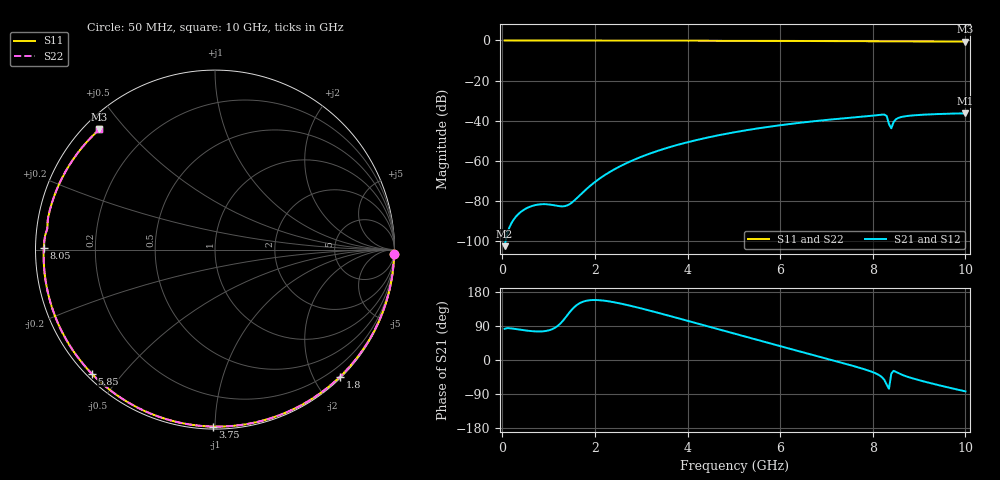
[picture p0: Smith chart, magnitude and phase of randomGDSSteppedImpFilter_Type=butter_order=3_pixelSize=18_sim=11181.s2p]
! freq	dB(S11)	phase(S11)	dB(S12)	phase(S12)
!  dB(S21)	phase(S21)	dB(S22)	phase(S22)
!S-par simulation data
#  GHz  S  DB  R 50
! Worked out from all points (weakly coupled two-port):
!   200 points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, 50 MHz to 10 GHz, reference 50 ohm
!   highest |S21| = -36.27 dB at 10 GHz (marker M1); lowest = -102.4 dB at 50 MHz (marker M2)
!   lowest |S11| = -0.6 dB at 10 GHz (marker M3), VSWR 27.28, Z = 2.16 + j21.2 ohm
!   |S11| at or under -10 dB: nowhere
!   |S22| runs from -0.6 to 0.0 dB; largest |S21 - S12| = 0
!   S11 on the Smith chart (normalised r, x): 50 MHz: 6, -88; 1.8 GHz: 0.02, -2.39; 3.75 GHz: 0.01, -0.99; 5.85 GHz: 0.02, -0.42; 8.05 GHz: 0.02, +0.01; 10 GHz: 0.04, +0.42
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0.05  -0.01 -1.3  -102.38 82.3  -102.38 82.3  -0.01 -1.3
0.75  -0.03 -19.2  -81.77 75.3  -81.77 75.3  -0.03 -19.2
1.5  -0.05 -38.1  -80.73 132.7  -80.73 132.7  -0.05 -38.1
1.55  -0.05 -39.3  -79.77 139.0  -79.77 139.0  -0.05 -39.3
1.75  -0.06 -44.2  -75.41 154.1  -75.41 154.1  -0.06 -44.2
1.8  -0.06 -45.4  -74.34 155.9  -74.34 155.9  -0.06 -45.4
2.15  -0.07 -53.9  -67.96 157.3  -67.96 157.3  -0.07 -53.9
2.5  -0.08 -62.2  -63.15 150.4  -63.15 150.4  -0.08 -62.2
3.4  -0.11 -82.9  -54.62 123.4  -54.62 123.4  -0.11 -82.9
3.75  -0.12 -90.6  -52.19 111.8  -52.19 111.8  -0.12 -90.6
5.05  -0.18 -118.4  -45.54 68.2  -45.54 68.2  -0.18 -118.4
5.85  -0.23 -134.8  -42.67 41.5  -42.67 41.5  -0.23 -134.8
6.7  -0.29 -152.2  -40.28 13.5  -40.28 13.5  -0.29 -152.2
8.05  -0.41 179.4  -37.31 -34.5  -37.31 -34.5  -0.41 179.4
8.3  -0.49 173.8  -37.59 -64.8  -37.59 -64.8  -0.49 173.8
8.35  -0.52 172.9  -41.64 -75.9  -41.64 -75.9  -0.52 172.9
8.4  -0.51 172.1  -43.71 -36.0  -43.71 -36.0  -0.51 172.1
8.45  -0.49 171.0  -40.58 -28.6  -40.58 -28.6  -0.49 171.0
8.5  -0.48 169.9  -39.24 -31.5  -39.24 -31.5  -0.48 169.9
8.7  -0.48 165.3  -37.72 -42.2  -37.72 -42.2  -0.48 165.3
9.35  -0.55 150.1  -36.68 -64.3  -36.68 -64.3  -0.55 150.1
10  -0.64 133.9  -36.27 -82.8  -36.27 -82.8  -0.64 133.9
